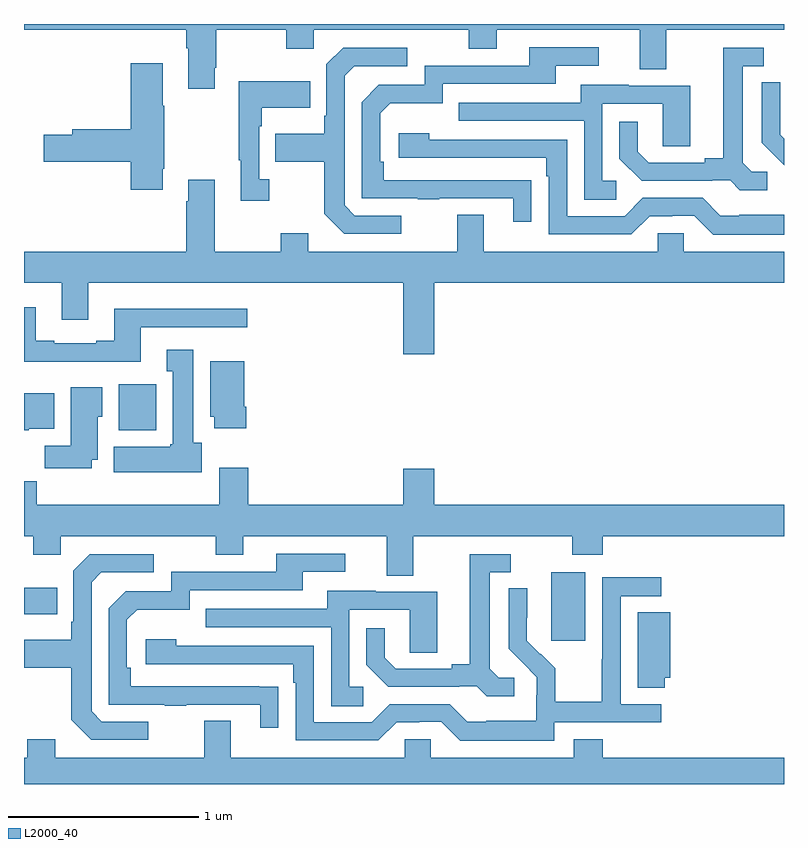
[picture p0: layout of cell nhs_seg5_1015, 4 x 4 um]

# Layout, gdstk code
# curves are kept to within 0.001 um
import gdstk
lib = gdstk.Library(unit=1e-6, precision=1e-09)
def R(c, l, rs):  # rectangles x0, y0, x1, y1
    for r in rs: c.add(gdstk.rectangle(r[:2], r[2:], *l))
def P(c, l, *ps):  # polygons
    for p in ps: c.add(gdstk.Polygon(p, *l))
L2000_40 = (2000, 40)

nhs_seg5_1015 = lib.new_cell('nhs_seg5_1015')
R(nhs_seg5_1015, L2000_40, [(177.776,845.553,177.955,845.914), (175,845.693,175.175,845.833), (175.499,846.662,175.696,846.904)])
P(nhs_seg5_1015, L2000_40, [(175,848.768),(175.853,848.768),(175.853,848.672),(175.865,848.672),(175.865,848.457),(176.005,848.457),(176.005,848.569),(176.013,848.569),(176.013,848.768),(176.38,848.768),(176.38,848.669),(176.526,848.669),(176.526,848.768),(177.34,848.768),(177.34,848.669),(177.487,848.669),(177.487,848.768),(178.241,848.768),(178.241,848.56),(178.381,848.56),(178.381,848.768),(179,848.768),(179,848.799),(175,848.799)],
  [(177.671,847.976),(176.894,847.977),(176.894,848.074),(176.874,848.074),(176.874,848.328),(176.927,848.381),(177.204,848.381),(177.204,848.484),(177.799,848.484),(177.799,848.58),(178.024,848.58),(178.024,848.676),(177.659,848.676),(177.659,848.58),(177.108,848.58),(177.108,848.478),(176.868,848.478),(176.778,848.388),(176.778,847.881),(177.073,847.881),(177.073,847.876),(177.185,847.876),(177.185,847.881),(177.575,847.881),(177.575,847.758),(177.671,847.758)],
  [(176.986,847.791),(176.742,847.791),(176.688,847.845),(176.688,848.526),(176.739,848.577),(177.016,848.577),(177.016,848.673),(176.679,848.673),(176.592,848.586),(176.592,848.317),(176.58,848.317),(176.58,848.221),(176.323,848.221),(176.323,848.074),(176.58,848.074),(176.58,847.801),(176.685,847.695),(176.986,847.695)],
  [(178.912,848.022),(178.83,848.022),(178.783,848.069),(178.783,848.577),(178.894,848.577),(178.894,848.673),(178.679,848.673),(178.679,848.093),(178.583,848.093),(178.583,848.07),(178.288,848.07),(178.231,848.127),(178.231,848.284),(178.134,848.284),(178.134,848.09),(178.25,847.974),(178.622,847.974),(178.622,847.977),(178.716,847.977),(178.768,847.925),(178.912,847.925)],
  [(175.729,848.038),(175.737,848.038),(175.737,848.369),(175.729,848.369),(175.729,848.593),(175.562,848.593),(175.562,848.246),(175.253,848.246),(175.253,848.216),(175.104,848.216),(175.104,848.074),(175.562,848.074),(175.562,847.926),(175.729,847.926)],
  [(176.29,847.982),(176.238,847.982),(176.238,848.261),(176.251,848.261),(176.251,848.357),(176.507,848.357),(176.507,848.497),(176.13,848.497),(176.13,848.081),(176.141,848.081),(176.141,847.869),(176.29,847.869)],
  [(179,848.195),(178.979,848.216),(178.979,848.32),(178.981,848.32),(178.981,848.492),(178.884,848.492),(178.884,848.174),(178.957,848.101),(178.956,848.1),(179,848.056)],
  [(178.117,847.974),(178.044,847.974),(178.044,848.379),(178.362,848.379),(178.362,848.155),(178.507,848.155),(178.507,848.475),(178.183,848.475),(178.183,848.479),(177.929,848.479),(177.929,848.385),(177.289,848.385),(177.289,848.289),(177.948,848.289),(177.948,847.873),(178.117,847.873)],
  [(179,847.795),(178.765,847.795),(178.765,847.791),(178.665,847.791),(178.572,847.884),(178.257,847.884),(178.161,847.788),(177.858,847.788),(177.858,848.19),(177.134,848.19),(177.134,848.224),(176.973,848.224),(176.973,848.094),(177.749,848.094),(177.749,847.997),(177.762,847.997),(177.762,847.692),(178.197,847.692),(178.293,847.788),(178.412,847.788),(178.412,847.791),(178.527,847.791),(178.627,847.691),(179,847.691)],
  [(177.16,847.436),(179,847.436),(179,847.6),(178.473,847.6),(178.473,847.698),(178.335,847.698),(178.335,847.6),(177.421,847.6),(177.421,847.795),(177.281,847.795),(177.281,847.6),(176.497,847.6),(176.497,847.699),(176.35,847.699),(176.35,847.6),(176.005,847.6),(176.005,847.978),(175.865,847.978),(175.865,847.865),(175.853,847.865),(175.853,847.6),(175,847.6),(175,847.436),(175.199,847.436),(175.199,847.242),(175.339,847.242),(175.339,847.436),(176.996,847.436),(176.996,847.062),(177.16,847.062)],
  [(175.615,847.203),(176.176,847.203),(176.176,847.3),(175.475,847.3),(175.475,847.132),(175.379,847.132),(175.379,847.119),(175.159,847.119),(175.159,847.132),(175.063,847.132),(175.063,847.309),(175,847.309),(175,847.022),(175.615,847.022)],
  [(175.936,846.594),(175.891,846.594),(175.891,847.084),(175.751,847.084),(175.751,846.971),(175.784,846.971),(175.784,846.588),(175.771,846.588),(175.771,846.574),(175.472,846.574),(175.472,846.44),(175.936,846.44)],
  [(176.171,846.784),(176.158,846.784),(176.158,847.024),(175.979,847.024),(175.979,846.732),(176,846.732),(176,846.672),(176.171,846.672)],
  [(175.357,846.506),(175.387,846.506),(175.387,846.732),(175.411,846.732),(175.411,846.886),(175.247,846.886),(175.247,846.58),(175.108,846.58),(175.108,846.462),(175.357,846.462)],
  [(175.026,846.668),(175.159,846.668),(175.159,846.856),(175,846.856),(175,846.662),(175.026,846.662)],
  [(175,846.104),(175.048,846.104),(175.048,846.005),(175.194,846.005),(175.194,846.104),(176.008,846.104),(176.008,846.005),(176.155,846.005),(176.155,846.104),(176.909,846.104),(176.909,845.896),(177.049,845.896),(177.049,846.104),(177.886,846.104),(177.886,846.005),(178.046,846.005),(178.046,846.104),(179,846.104),(179,846.268),(177.16,846.268),(177.16,846.457),(176.996,846.457),(176.996,846.268),(176.18,846.268),(176.18,846.463),(176.027,846.463),(176.027,846.268),(175.067,846.268),(175.067,846.392),(175,846.392)],
  [(176.339,845.312),(175.562,845.313),(175.562,845.41),(175.542,845.41),(175.542,845.664),(175.595,845.717),(175.872,845.717),(175.872,845.82),(176.467,845.82),(176.467,845.916),(176.692,845.916),(176.692,846.012),(176.327,846.012),(176.327,845.916),(175.776,845.916),(175.776,845.814),(175.536,845.814),(175.446,845.724),(175.446,845.217),(175.741,845.217),(175.741,845.212),(175.853,845.212),(175.853,845.217),(176.243,845.217),(176.243,845.094),(176.339,845.094)],
  [(177.58,845.358),(177.498,845.358),(177.451,845.405),(177.451,845.913),(177.562,845.913),(177.562,846.009),(177.347,846.009),(177.347,845.429),(177.251,845.429),(177.251,845.406),(176.956,845.406),(176.899,845.463),(176.899,845.62),(176.802,845.62),(176.802,845.426),(176.918,845.31),(177.29,845.31),(177.29,845.313),(177.384,845.313),(177.436,845.261),(177.58,845.261)],
  [(175.654,845.127),(175.41,845.127),(175.356,845.181),(175.356,845.862),(175.407,845.913),(175.684,845.913),(175.684,846.009),(175.347,846.009),(175.26,845.922),(175.26,845.653),(175.248,845.653),(175.248,845.557),(175,845.557),(175,845.41),(175.248,845.41),(175.248,845.137),(175.353,845.031),(175.654,845.031)],
  [(177.792,845.124),(178.354,845.124),(178.354,845.22),(178.14,845.22),(178.14,845.787),(178.354,845.787),(178.354,845.886),(178.044,845.886),(178.044,845.456),(178.042,845.456),(178.042,845.233),(177.797,845.233),(177.797,845.407),(177.72,845.484),(177.717,845.481),(177.647,845.552),(177.648,845.828),(177.552,845.828),(177.552,845.51),(177.698,845.362),(177.698,845.265),(177.696,845.265),(177.696,845.131),(177.433,845.131),(177.433,845.127),(177.333,845.127),(177.24,845.22),(176.925,845.22),(176.829,845.124),(176.526,845.124),(176.526,845.526),(175.802,845.526),(175.802,845.56),(175.641,845.56),(175.641,845.43),(176.417,845.43),(176.417,845.333),(176.43,845.333),(176.43,845.028),(176.865,845.028),(176.961,845.124),(177.08,845.124),(177.08,845.127),(177.195,845.127),(177.295,845.027),(177.792,845.027)],
  [(176.785,845.31),(176.712,845.31),(176.712,845.715),(177.03,845.715),(177.03,845.491),(177.175,845.491),(177.175,845.811),(176.851,845.811),(176.851,845.815),(176.597,845.815),(176.597,845.721),(175.957,845.721),(175.957,845.625),(176.616,845.625),(176.616,845.209),(176.785,845.209)],
  [(178.373,845.358),(178.4,845.358),(178.4,845.702),(178.229,845.702),(178.229,845.305),(178.373,845.305)],
  [(179,844.936),(178.046,844.936),(178.046,845.035),(177.893,845.035),(177.893,844.936),(177.141,844.936),(177.141,845.034),(177.003,845.034),(177.003,844.936),(176.089,844.936),(176.089,845.131),(175.949,845.131),(175.949,844.936),(175.165,844.936),(175.165,845.035),(175.018,845.035),(175.018,844.936),(175,844.936),(175,844.799),(179,844.799)])

lib.write_gds('nhs_seg5_1015.gds')
